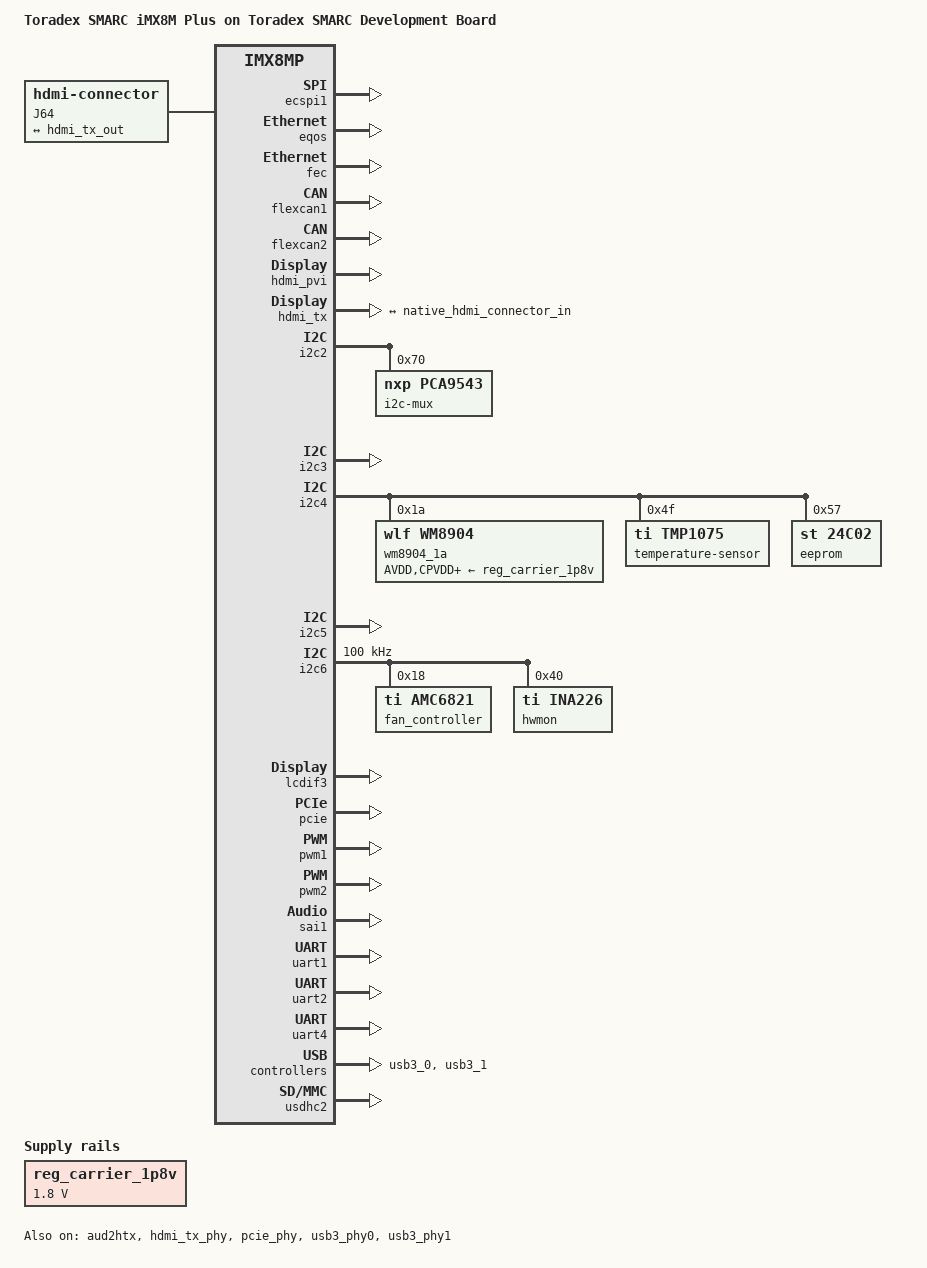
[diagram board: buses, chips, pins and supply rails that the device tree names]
// SPDX-License-Identifier: GPL-2.0-or-later OR MIT
/* Copyright (C) 2025 Toradex */

/dts-v1/;

#include <dt-bindings/pwm/pwm.h>

#include "imx8mp-toradex-smarc.dtsi"

/ {
	model = "Toradex SMARC iMX8M Plus on Toradex SMARC Development Board";
	compatible = "toradex,smarc-imx8mp-dev",
		     "toradex,smarc-imx8mp",
		     "fsl,imx8mp";

	hdmi-connector {
		compatible = "hdmi-connector";
		label = "J64";
		type = "a";

		port {
			native_hdmi_connector_in: endpoint {
				remote-endpoint = <&hdmi_tx_out>;
			};
		};
	};

	reg_carrier_1p8v: regulator-carrier-1p8v {
		compatible = "regulator-fixed";
		regulator-max-microvolt = <1800000>;
		regulator-min-microvolt = <1800000>;
		regulator-name = "On-carrier 1V8";
	};

	sound {
		compatible = "simple-audio-card";
		simple-audio-card,bitclock-master = <&codec_dai>;
		simple-audio-card,format = "i2s";
		simple-audio-card,frame-master = <&codec_dai>;
		simple-audio-card,mclk-fs = <256>;
		simple-audio-card,name = "tdx-smarc-wm8904";
		simple-audio-card,routing =
			"Headphone Jack", "HPOUTL",
			"Headphone Jack", "HPOUTR",
			"IN2L", "Line In Jack",
			"IN2R", "Line In Jack",
			"Microphone Jack", "MICBIAS",
			"IN1L", "Microphone Jack";
		simple-audio-card,widgets =
			"Microphone", "Microphone Jack",
			"Headphone", "Headphone Jack",
			"Line", "Line In Jack";

		codec_dai: simple-audio-card,codec {
			clocks = <&audio_blk_ctrl IMX8MP_CLK_AUDIOMIX_SAI1_MCLK1>;
			sound-dai = <&wm8904_1a>;
		};

		simple-audio-card,cpu {
			sound-dai = <&sai1>;
		};
	};
};

&aud2htx {
	status = "okay";
};

/* SMARC SPI0 */
&ecspi1 {
	status = "okay";
};

/* SMARC GBE0 */
&eqos {
	status = "okay";
};

/* SMARC GBE1 */
&fec {
	status = "okay";
};

/* SMARC CAN1 */
&flexcan1 {
	status = "okay";
};

/* SMARC CAN0 */
&flexcan2 {
	status = "okay";
};

&gpio1 {
	pinctrl-names = "default";
	pinctrl-0 = <&pinctrl_gpio7>,
		    <&pinctrl_gpio8>,
		    <&pinctrl_gpio9>,
		    <&pinctrl_gpio10>,
		    <&pinctrl_gpio11>,
		    <&pinctrl_gpio12>,
		    <&pinctrl_gpio13>;
};

&gpio4 {
	pinctrl-names = "default";
	pinctrl-0 = <&pinctrl_gpio4>, <&pinctrl_gpio6>;
};

&hdmi_pvi {
	status = "okay";
};

/* SMARC HDMI */
&hdmi_tx {
	status = "okay";

	ports {
		port@1 {
			hdmi_tx_out: endpoint {
				remote-endpoint = <&native_hdmi_connector_in>;
			};
		};
	};
};

&hdmi_tx_phy {
	status = "okay";
};

/* SMARC I2C_LCD */
&i2c2 {
	status = "okay";

	i2c-mux@70 {
		compatible = "nxp,pca9543";
		reg = <0x70>;
		#address-cells = <1>;
		#size-cells = <0>;

		/* I2C on DSI Connector Pins 4/6 */
		i2c_dsi_0: i2c@0 {
			reg = <0>;
			#address-cells = <1>;
			#size-cells = <0>;
		};

		/* I2C on DSI Connector Pins 52/54 */
		i2c_dsi_1: i2c@1 {
			reg = <1>;
			#address-cells = <1>;
			#size-cells = <0>;
		};
	};
};

/* SMARC I2C_CAM0 */
&i2c3 {
	status = "okay";
};

/* SMARC I2C_GP */
&i2c4 {
	/* Audio Codec */
	wm8904_1a: audio-codec@1a {
		compatible = "wlf,wm8904";
		reg = <0x1a>;
		pinctrl-names = "default";
		pinctrl-0 = <&pinctrl_sai1>, <&pinctrl_sai1_mclk>;
		#sound-dai-cells = <0>;
		clocks = <&audio_blk_ctrl IMX8MP_CLK_AUDIOMIX_SAI1_MCLK1>;
		clock-names = "mclk";
		AVDD-supply = <&reg_carrier_1p8v>;
		CPVDD-supply = <&reg_carrier_1p8v>;
		DBVDD-supply = <&reg_carrier_1p8v>;
		DCVDD-supply = <&reg_carrier_1p8v>;
		MICVDD-supply = <&reg_carrier_1p8v>;
	};

	/* On-Carrier Temperature Sensor */
	temperature-sensor@4f {
		compatible = "ti,tmp1075";
		reg = <0x4f>;
	};

	/* On-Carrier EEPROM */
	eeprom@57 {
		compatible = "st,24c02", "atmel,24c02";
		reg = <0x57>;
		pagesize = <16>;
	};
};

/* SMARC I2C_CAM1 */
&i2c5 {
	status = "okay";
};

/* SMARC I2C_PM */
&i2c6 {
	clock-frequency = <100000>;
	status = "okay";

	/* Fan controller */
	fan_controller: fan@18 {
		compatible = "ti,amc6821";
		reg = <0x18>;
		#pwm-cells = <2>;

		fan {
			cooling-levels = <255>;
			pwms = <&fan_controller 40000 PWM_POLARITY_INVERTED>;
		};
	};

	/* Current measurement into module VDD */
	hwmon@40 {
		compatible = "ti,ina226";
		reg = <0x40>;
		shunt-resistor = <5000>;
	};
};

&lcdif3 {
	status = "okay";
};

/* SMARC PCIE_A, M2 Key B */
&pcie {
	status = "okay";
};

&pcie_phy {
	status = "okay";
};

/* SMARC LCD1_BKLT_PWM */
&pwm1 {
	status = "okay";
};

/* SMARC LCD0_BKLT_PWM */
&pwm2 {
	status = "okay";
};

/* SMARC I2S0 */
&sai1 {
	assigned-clocks = <&clk IMX8MP_CLK_SAI1>;
	assigned-clock-parents = <&clk IMX8MP_AUDIO_PLL1_OUT>;
	assigned-clock-rates = <24576000>;
	fsl,sai-mclk-direction-output;
	status = "okay";
};

/* SMARC HDMI Audio */
&sound_hdmi {
	status = "okay";
};

/* SMARC SER0, RS485. Optional M.2 KEY E */
&uart1 {
	linux,rs485-enabled-at-boot-time;
	rs485-rts-active-low;
	rs485-rx-during-tx;
	status = "okay";
};

/* SMARC SER2 */
&uart2 {
	status = "okay";
};

/* SMARC SER1, used as the Linux Console */
&uart4 {
	status = "okay";
};

/* SMARC USB0 */
&usb3_0 {
	status = "okay";
};

/* SMARC USB1..4 */
&usb3_1 {
	status = "okay";
};

&usb3_phy0 {
	status = "okay";
};

&usb3_phy1 {
	status = "okay";
};

/* SMARC SDIO */
&usdhc2 {
	status = "okay";
};
